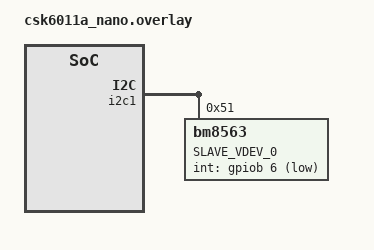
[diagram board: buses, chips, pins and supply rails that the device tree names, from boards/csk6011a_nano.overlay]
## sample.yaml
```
sample:
  name: Demo for BOARD_CSK6's BM8563 (I2C)
```

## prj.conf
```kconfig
CONFIG_STDOUT_CONSOLE=y
CONFIG_PRINTK=y
CONFIG_LOG=y
CONFIG_PRINTK=y
CONFIG_I2C=y
CONFIG_COUNTER=y
CONFIG_COUNTER_BM8563=y
```

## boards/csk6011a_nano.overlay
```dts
/*
 * Copyright (c) 2023 Anhui(Shenzhen) Listenai Co., Ltd.
 *
 * SPDX-License-Identifier: Apache-2.0
 */
&pinctrl {
	/* I2C alternate function */
	pinctrl_i2c0_scl_default: i2c0_scl_default{
		pinctrls = <I2C0_SCL_GPIOA_10>;
	};

	pinctrl_i2c0_sda_default: i2c0_sda_default{
		pinctrls = <I2C0_SDA_GPIOA_11>;
	};

	pinctrl_i2c1_scl_default: i2c1_scl_default{
		pinctrls = <I2C1_SCL_GPIOB_03>;
	};

	pinctrl_i2c1_sda_default: i2c1_sda_default{
		pinctrls = <I2C1_SDA_GPIOB_04>;
	};

};


&i2c1 {
	status = "okay";
	pinctrl-0 = <&pinctrl_i2c1_scl_default &pinctrl_i2c1_sda_default>;
	pinctrl-names = "default";

	bm8563_0: bm8563@32 {
		compatible = "bm8563";
		reg = <0x51>;
		label = "SLAVE_VDEV_0";
		int-gpios = <&gpiob 6 (GPIO_PULL_UP | GPIO_ACTIVE_LOW)>;
	};
};

&i2c0 {
	status = "disabled";
	pinctrl-0 = <&pinctrl_i2c0_scl_default &pinctrl_i2c0_sda_default>;
	pinctrl-names = "default";
};
```

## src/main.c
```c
#include <zephyr/device.h>
#include <zephyr/drivers/i2c.h>
#include <zephyr/zephyr.h>
#include <zephyr/sys/printk.h>
#include <stdlib.h>
#include <stdio.h>
#include <time.h>

#include <zephyr/drivers/rtc/bm8563.h>
#include <zephyr/drivers/counter.h>

#include <logging/log.h>
LOG_MODULE_REGISTER(main, LOG_LEVEL_INF);

#define RTC DT_LABEL(DT_NODELABEL(bm8563_0))

int main(void)
{
	struct tm rtc;
	int ret;

	// get the device
	const struct device *dev = device_get_binding(RTC);
	if (!dev) {
		LOG_INF("Failed to get device binding %p\n", dev);
		return -ENODEV;
	}
	
	rtc.tm_year = 2025;
	rtc.tm_mon = 3;
	rtc.tm_mday = 20;
	rtc.tm_hour = 13;
	rtc.tm_min = 20;
	rtc.tm_sec = 45;

	LOG_INF("Set RTC Time: %d-%d-%d %d:%d:%d", 	rtc.tm_year, rtc.tm_mon, rtc.tm_mday, 
													rtc.tm_hour, rtc.tm_min, rtc.tm_sec);
	ret = counter_set_time(dev, &rtc);
	if (ret != 0) {
		LOG_ERR("Failed to set time: %d\n", ret);
		return ret;
	}
	memset(&rtc, 0, sizeof(rtc));
	int cnt = 0;
	while (1)
	{
		cnt++;
		if (cnt > 5)
			return 0;
		ret = counter_get_time(dev, &rtc);
		if (ret != 0) {
			LOG_ERR("Failed to get time: %d\n", ret);
			return ret;
		}
		LOG_INF("Get RTC Time: %d-%d-%d %d:%d:%d", 	rtc.tm_year, rtc.tm_mon, rtc.tm_mday, 
												rtc.tm_hour, rtc.tm_min, rtc.tm_sec);	
		k_msleep(1000);
	}
	return 0;
}
```
